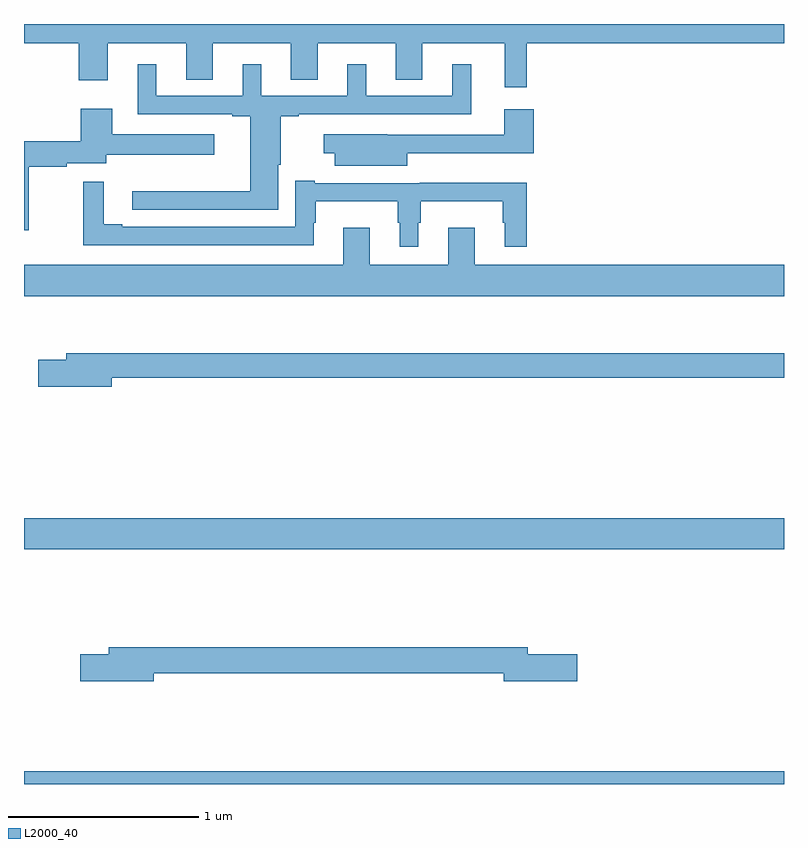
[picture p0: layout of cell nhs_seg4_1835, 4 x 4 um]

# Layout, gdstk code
import gdstk
lib = gdstk.Library(unit=1e-6, precision=1e-09)
def R(c, l, rs):  # rectangles x0, y0, x1, y1
    for r in rs: c.add(gdstk.rectangle(r[:2], r[2:], *l))
def P(c, l, *ps):  # polygons
    for p in ps: c.add(gdstk.Polygon(p, *l))
L2000_40 = (2000, 40)

nhs_seg4_1835 = lib.new_cell('nhs_seg4_1835')
R(nhs_seg4_1835, L2000_40, [(205,812.9,209,812.968), (205,814.136,209,814.3)])
P(nhs_seg4_1835, L2000_40, [(207.647,816.8),(209,816.8),(209,816.9),(205,816.9),(205,816.8),(205.289,816.8),(205.289,816.603),(205.441,816.603),(205.441,816.8),(205.853,816.8),(205.853,816.607),(205.993,816.607),(205.993,816.8),(206.405,816.8),(206.405,816.607),(206.545,816.607),(206.545,816.8),(206.957,816.8),(206.957,816.607),(207.097,816.607),(207.097,816.8),(207.53,816.8),(207.53,816.567),(207.647,816.567)],
  [(206.338,816.159),(206.35,816.159),(206.35,816.414),(206.446,816.414),(206.446,816.426),(207.353,816.426),(207.353,816.688),(207.254,816.688),(207.254,816.522),(206.8,816.522),(206.8,816.688),(206.702,816.688),(206.702,816.522),(206.248,816.522),(206.248,816.688),(206.15,816.688),(206.15,816.522),(205.696,816.522),(205.696,816.688),(205.598,816.688),(205.598,816.426),(206.096,816.426),(206.096,816.414),(206.192,816.414),(206.192,816.02),(205.569,816.02),(205.569,815.922),(206.338,815.922)],
  [(205.026,816.148),(205.226,816.148),(205.226,816.168),(205.432,816.168),(205.432,816.212),(206.002,816.212),(206.002,816.319),(205.465,816.319),(205.465,816.454),(205.298,816.454),(205.298,816.284),(205,816.284),(205,815.814),(205.026,815.814)],
  [(207.016,816.221),(207.683,816.221),(207.683,816.451),(207.527,816.451),(207.527,816.318),(206.912,816.318),(206.912,816.319),(206.577,816.319),(206.577,816.221),(206.636,816.221),(206.636,816.155),(207.016,816.155)],
  [(207.076,815.855),(207.088,815.855),(207.088,815.966),(207.519,815.966),(207.519,815.855),(207.53,815.855),(207.53,815.727),(207.647,815.727),(207.647,816.064),(207.082,816.064),(207.082,816.063),(206.53,816.063),(206.53,816.076),(206.427,816.076),(206.427,815.832),(205.516,815.832),(205.516,815.845),(205.42,815.845),(205.42,816.07),(205.311,816.07),(205.311,815.736),(206.524,815.736),(206.524,815.855),(206.536,815.855),(206.536,815.966),(206.967,815.966),(206.967,815.855),(206.978,815.855),(206.978,815.727),(207.076,815.727)],
  [(209,815.632),(207.373,815.632),(207.373,815.827),(207.233,815.827),(207.233,815.632),(206.821,815.632),(206.821,815.827),(206.681,815.827),(206.681,815.632),(205,815.632),(205,815.468),(209,815.468)],
  [(205.462,815.038),(209,815.038),(209,815.167),(205.223,815.167),(205.223,815.133),(205.074,815.133),(205.074,814.991),(205.462,814.991)],
  [(205.684,813.484),(207.524,813.484),(207.524,813.442),(207.913,813.442),(207.913,813.584),(207.652,813.584),(207.652,813.62),(205.445,813.62),(205.445,813.584),(205.296,813.584),(205.296,813.442),(205.684,813.442)])

lib.write_gds('nhs_seg4_1835.gds')
